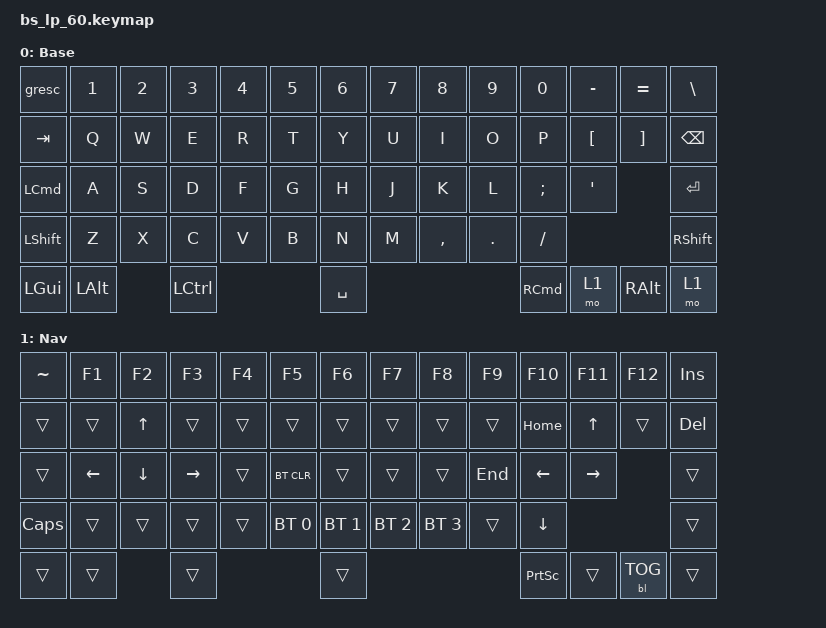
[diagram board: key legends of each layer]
/*
 * Copyright (c) 2021 Cole Smith
 *
 * SPDX-License-Identifier: MIT
 */

#include <dt-bindings/zmk/reset.h>
#include <behaviors.dtsi>
#include <dt-bindings/zmk/backlight.h>
#include <dt-bindings/zmk/bt.h>
#include <dt-bindings/zmk/keys.h>

#define BAS_L 0
#define NAV_L 1

/ {
    macros {
        new_macro: new_macro {
            compatible = "zmk,behavior-macro";
            #binding-cells = <0>;
            bindings = <&none>;
            label = "NEW_MACRO";
        };
    };

    keymap {
        compatible = "zmk,keymap";

        default_layer {
            // ------------------------------------------------------------------------------------------
            // | ESC |  1  |  2  |  3  |  4  |  5  |  6  |  7  |  8  |  9  |  0  |  -  |  =  |   BKSP   |
            // | TAB  |  Q  |  W  |  E  |  R  |  T  |  Y  |  U  |  I  |  O  |  P  |  [  |  ]  |   "|"   |
            // | CAPS  |  A  |  S  |  D  |  F  |  G  |  H  |  J  |  K  |  L  |  ;  |  '  |     ENTER    |
            // |  SHIFT  |  Z  |  X  |  C  |  V  |  B  |  N  |  M  |  ,  |  .  |  /  |      SHIFT       |
            // |  CTL  |  WIN  |  ALT  |            SPACE              |  ALT  |  WIN  |  MO(1) |  CTL  |
            // ------------------------------------------------------------------------------------------

            label = "Base";
            bindings = <
&gresc            &kp N1        &kp N2  &kp N3            &kp N4  &kp N5  &kp N6     &kp N7  &kp N8     &kp N9   &kp N0             &kp MINUS  &kp EQUAL      &kp BACKSLASH
&kp TAB           &kp Q         &kp W   &kp E             &kp R   &kp T   &kp Y      &kp U   &kp I      &kp O    &kp P              &kp LBKT   &kp RBKT       &kp BACKSPACE
&kp LEFT_COMMAND  &kp A         &kp S   &kp D             &kp F   &kp G   &kp H      &kp J   &kp K      &kp L    &kp SEMI           &kp SQT                   &kp RET
&kp LSHFT         &kp Z         &kp X   &kp C             &kp V   &kp B   &kp N      &kp M   &kp COMMA  &kp DOT  &kp FSLH                                     &kp RSHFT
&kp LEFT_GUI      &kp LEFT_ALT          &kp LEFT_CONTROL                  &kp SPACE                              &kp RIGHT_COMMAND  &mo 1      &kp RIGHT_ALT  &mo 1
            >;
        };

        ble_layer {
            // ------------------------------------------------------------------------------------------------
            // | BT CLR | F1  | F2  | F3  | F4  | F5  | F6  | F7  | F8  | F9  | F10  | F11 | F12 |            |
            // |  BT 1   |   |  UP |   |       |       |       |       |   |     |    |     |     |           |
            // |   BT 2   | LT |  DN  | RT |       |       |       |       |   |     |   |     |              |
            // |    BT 3     |     |      |      |     |     |     |     |     |     |     |                  |
            // |   BT 4  |      |      |                                    | PRT SCR |       |       |  DEL  |
            // ------------------------------------------------------------------------------------------------

            label = "Nav";
            bindings = <
&kp TILDE  &kp F1    &kp F2    &kp F3     &kp F4  &kp F5        &kp F6        &kp F7        &kp F8        &kp F9   &kp F10    &kp F11       &kp F12     &kp INSERT
&trans     &trans    &kp UP    &trans     &trans  &trans        &trans        &trans        &trans        &trans   &kp HOME   &kp UP_ARROW  &trans      &kp DELETE
&trans     &kp LEFT  &kp DOWN  &kp RIGHT  &trans  &bt BT_CLR    &trans        &trans        &trans        &kp END  &kp LEFT   &kp RIGHT                 &trans
&kp CLCK   &trans    &trans    &trans     &trans  &bt BT_SEL 0  &bt BT_SEL 1  &bt BT_SEL 2  &bt BT_SEL 3  &trans   &kp DOWN                             &trans
&trans     &trans              &trans                           &trans                                             &kp PSCRN  &trans        &bl BL_TOG  &trans
            >;
        };
    };
};
